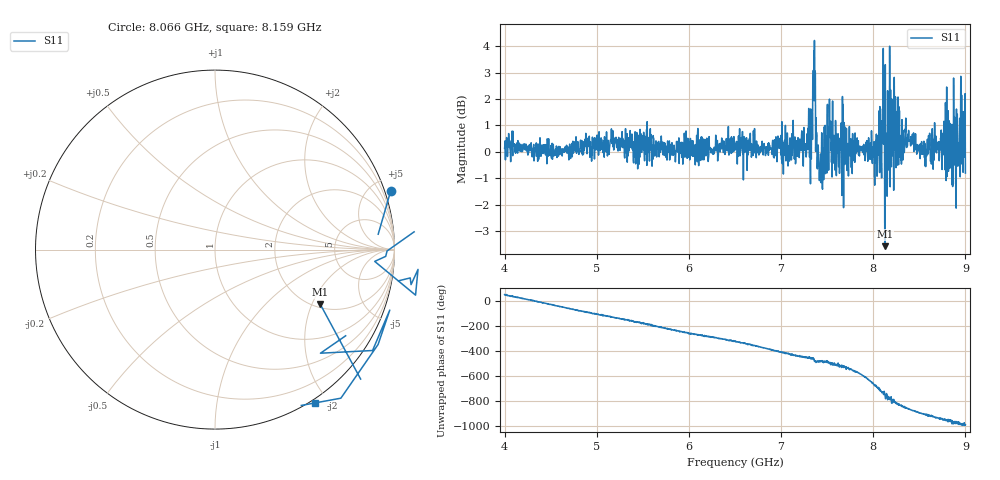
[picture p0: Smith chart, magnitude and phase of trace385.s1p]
! Created with skrf 1.8.0 (http://scikit-rf.org).
# Hz S RI R 50.0
!freq ReS11 ImS11
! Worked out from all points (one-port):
!   1601 points, 4 GHz to 9 GHz, reference 50 ohm
!   lowest |S11| = -3.6 dB at 8.125 GHz (marker M1), VSWR 4.92, Z = 106 - j116 ohm
!   |S11| at or under -10 dB: nowhere
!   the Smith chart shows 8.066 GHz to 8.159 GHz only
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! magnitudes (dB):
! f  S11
! 4 GHz  0.1
! 4.625 GHz  -0.2
! 5.25 GHz  0.1
! 5.875 GHz  0.0
! 6.5 GHz  0.2
! 7.125 GHz  0.2
! 7.294 GHz  0.1
! 7.316 GHz  0.2
! 7.347 GHz  2.7
! 7.369 GHz  3.1
! 7.4 GHz  -0.1
! 7.428 GHz  -0.1
! 7.512 GHz  0.9
! 7.688 GHz  0.5
! 7.75 GHz  -0.2
! 8.022 GHz  0.3
! 8.097 GHz  1.1
! 8.125 GHz  -3.6
! 8.15 GHz  -1.7
! 8.156 GHz  2.3
! 8.181 GHz  1.6
! 8.312 GHz  1.2
! 8.375 GHz  0.6
! 8.556 GHz  -0.2
! 8.819 GHz  0.4
! 8.875 GHz  0.8
! 8.972 GHz  0.5
! 9 GHz  -0.8
